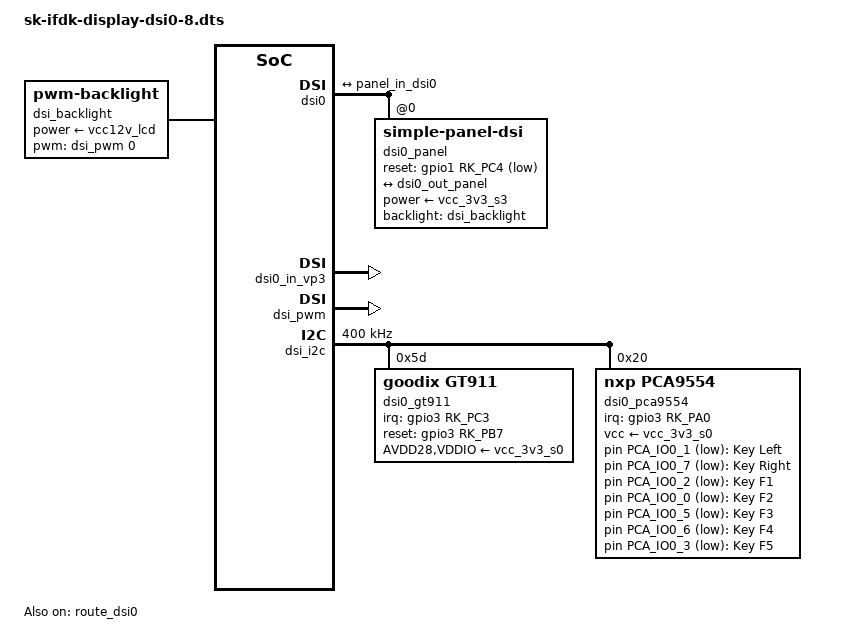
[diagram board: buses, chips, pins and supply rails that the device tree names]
// SPDX-License-Identifier: (GPL-2.0+ OR MIT)
/*
* Copyright (c) 2026 Sergey Kharenko
*/

/dts-v1/;
/plugin/;

#include <dt-bindings/display/drm_mipi_dsi.h>
#include <dt-bindings/display/rockchip_vop.h>
#include <dt-bindings/input/input.h>
#include <dt-bindings/interrupt-controller/irq.h>
#include <dt-bindings/gpio/gpio.h>
#include <dt-bindings/pinctrl/rockchip.h>

/ {
	metadata {
		title ="Enable SK IFDK Display 8 with Touchpad";
		compatible = "sk,ifdk";
		category = "display";
		exclusive = "dsi0";
		description = "Enable SK IFDK Display 8 with Touchpad.";
	};

    fragment@0 {
		target-path = "/";
        
        __overlay__ {
        	dsi_backlight: dsi-backlight {
                compatible = "pwm-backlight";
                brightness-levels = <
                    0  20  20  21  21  22  22  23
                    23  24  24  25  25  26  26  27
                    27  28  28  29  29  30  30  31
                    31  32  32  33  33  34  34  35
                    35  36  36  37  37  38  38  39
                    40  41  42  43  44  45  46  47
                    48  49  50  51  52  53  54  55
                    56  57  58  59  60  61  62  63
                    64  65  66  67  68  69  70  71
                    72  73  74  75  76  77  78  79
                    80  81  82  83  84  85  86  87
                    88  89  90  91  92  93  94  95
                    96  97  98  99 100 101 102 103
                    104 105 106 107 108 109 110 111
                    112 113 114 115 116 117 118 119
                    120 121 122 123 124 125 126 127
                    128 129 130 131 132 133 134 135
                    136 137 138 139 140 141 142 143
                    144 145 146 147 148 149 150 151
                    152 153 154 155 156 157 158 159
                    160 161 162 163 164 165 166 167
                    168 169 170 171 172 173 174 175
                    176 177 178 179 180 181 182 183
                    184 185 186 187 188 189 190 191
                    192 193 194 195 196 197 198 199
                    200 201 202 203 204 205 206 207
                    208 209 210 211 212 213 214 215
                    216 217 218 219 220 221 222 223
                    224 225 226 227 228 229 230 231
                    232 233 234 235 236 237 238 239
                    240 241 242 243 244 245 246 247
                    248 249 250 251 252 253 254 255
                >;
                default-brightness-level = <200>;
                power-supply = <&vcc12v_lcd>;
                pwms = <&dsi_pwm 0 12000 0>;
	        };

            keypad_keys: keypad-keys {
                compatible = "gpio-keys";
                #address-cells = <1>;
                #size-cells = <0>;
                autorepeat;

                key_left: key-left@0 {
                    reg = <0>;
                    gpios = <&dsi0_pca9554 PCA_IO0_1 GPIO_ACTIVE_LOW>;
                    linux,code = <KEY_LEFT>;
                    label = "Key Left";
                    linux,input-type = <EV_KEY>;
                    interrupt-parent = <&dsi0_pca9554>;
                    interrupts = <PCA_IO0_1 IRQ_TYPE_EDGE_FALLING>;
                };

                key_right: key-right@1 {
                    reg = <1>;
                    gpios = <&dsi0_pca9554 PCA_IO0_7 GPIO_ACTIVE_LOW>;
                    linux,code = <KEY_RIGHT>;
                    label = "Key Right";
                    linux,input-type = <EV_KEY>;
                    interrupt-parent = <&dsi0_pca9554>;
                    interrupts = <PCA_IO0_7 IRQ_TYPE_EDGE_FALLING>;
                };

                key_f1: key-f1@2 {
                    reg = <2>;
                    gpios = <&dsi0_pca9554 PCA_IO0_2 GPIO_ACTIVE_LOW>;
                    linux,code = <KEY_F1>;
                    label = "Key F1";
                    linux,input-type = <EV_KEY>;
                    interrupt-parent = <&dsi0_pca9554>;
                    interrupts = <PCA_IO0_2 IRQ_TYPE_EDGE_FALLING>;
                };

                key_f2: key-f2@3 {
                    reg = <3>;
                    gpios = <&dsi0_pca9554 PCA_IO0_0 GPIO_ACTIVE_LOW>;
                    linux,code = <KEY_F2>;
                    label = "Key F2";
                    linux,input-type = <EV_KEY>;
                    interrupt-parent = <&dsi0_pca9554>;
                    interrupts = <PCA_IO0_0 IRQ_TYPE_EDGE_FALLING>;
                };

                key_f3: key-f3@4 {
                    reg = <4>;
                    gpios = <&dsi0_pca9554 PCA_IO0_5 GPIO_ACTIVE_LOW>;
                    linux,code = <KEY_F3>;
                    label = "Key F3";
                    linux,input-type = <EV_KEY>;
                    interrupt-parent = <&dsi0_pca9554>;
                    interrupts = <PCA_IO0_5 IRQ_TYPE_EDGE_FALLING>;
                };

                key_f4: key-f4@5 {
                    reg = <5>;
                    gpios = <&dsi0_pca9554 PCA_IO0_6 GPIO_ACTIVE_LOW>;
                    linux,code = <KEY_F4>;
                    label = "Key F4";
                    linux,input-type = <EV_KEY>;
                    interrupt-parent = <&dsi0_pca9554>;
                    interrupts = <PCA_IO0_6 IRQ_TYPE_EDGE_FALLING>;
                };

                key_f5: key-f5@6 {
                    reg = <6>;
                    gpios = <&dsi0_pca9554 PCA_IO0_3 GPIO_ACTIVE_LOW>;
                    linux,code = <KEY_F5>;
                    label = "Key F5";
                    linux,input-type = <EV_KEY>;
                    interrupt-parent = <&dsi0_pca9554>;
                    interrupts = <PCA_IO0_3 IRQ_TYPE_EDGE_FALLING>;
                };
            };
        };
    };

    fragment@1 {
        target = <&dsi0>;

        __overlay__ {
            status = "okay";
            #address-cells = <1>;
			#size-cells = <0>;

            dsi0_panel: main-panel@0 {
                compatible = "simple-panel-dsi";
                reg = <0>;
                rotation = <270>;
                power-supply = <&vcc_3v3_s3>;
                backlight = <&dsi_backlight>;
                pinctrl-names = "default";
                pinctrl-0 = <&lcd_rst_gpio>;
                reset-gpios = <&gpio1 RK_PC4 GPIO_ACTIVE_LOW>;
                panel-name = "AML08012001920-01";
                reset-delay-ms = <20>;
                enable-delay-ms = <10>;
                prepare-delay-ms = <10>;
                unprepare-delay-ms = <10>;
                disable-delay-ms = <60>;
                init-delay-ms = <200>;
                dsi,flags = <(MIPI_DSI_MODE_VIDEO | MIPI_DSI_MODE_VIDEO_BURST |
                        MIPI_DSI_MODE_LPM | MIPI_DSI_MODE_NO_EOT_PACKET)>;
                dsi,format = <MIPI_DSI_FMT_RGB888>;
                dsi,lanes  = <4>;
                panel-init-sequence = [
                    05 0A 01 10

                    13 00 02 B0 05
                    13 00 02 B3 52
                    13 00 02 B0 01
                    13 00 02 C8 00
                    13 00 02 C9 00
                    13 00 02 CC 26
                    13 00 02 CD 26
                    13 00 02 DC 00
                    13 00 02 DD 00
                    13 00 02 E0 26
                    13 00 02 E1 26
                    13 00 02 B0 03 
                    13 00 02 C3 2A 
                    13 00 02 E7 2A 
                    13 00 02 C5 2A 
                    13 00 02 DE 2A 
                    13 00 02 B0 00
                    13 00 02 B6 03
                    13 00 02 BA 87
                    13 00 02 BD 78
                    13 00 02 BF 15
                    13 00 02 C0 12 
                    13 00 02 C2 0C 
                    13 00 02 C3 02 
                    13 00 02 C4 0C 
                    13 00 02 C5 02
                    13 00 02 B0 06 
                    13 00 02 C0 A5 
                    13 00 02 D5 20
                    13 00 02 C0 00
                    13 00 02 B0 02
                    13 00 02 C0 00
                    13 00 02 C1 02
                    13 00 02 C2 06
                    13 00 02 C3 16 
                    13 00 02 C4 0e 
                    13 00 02 C5 18
                    13 00 02 C6 26
                    13 00 02 C7 32 
                    13 00 02 C8 3F 
                    13 00 02 C9 3F 
                    13 00 02 CA 3F 
                    13 00 02 CB 3F 
                    13 00 02 CC 3D 
                    13 00 02 CD 2F 
                    13 00 02 CE 2F 
                    13 00 02 CF 2F 
                    13 00 02 D0 07
                    13 00 02 D2 00
                    13 00 02 D3 02
                    13 00 02 D4 06

                    13 00 02 D5 12
                    13 00 02 D6 0A
                    13 00 02 D7 14
                    13 00 02 D8 22
                    13 00 02 D9 2E
                    13 00 02 DA 3D
                    13 00 02 DB 3F
                    13 00 02 DC 3F
                    13 00 02 DD 3F
                    13 00 02 DE 3D
                    13 00 02 DF 2F
                    13 00 02 E0 2F
                    13 00 02 E1 2F
                    13 00 02 E2 07
                    13 00 02 B0 07
                    13 00 02 B1 00
                    13 00 02 B2 19
                    13 00 02 B3 31
                    13 00 02 B4 5A
                    13 00 02 B5 7C
                    13 00 02 B6 9C
                    13 00 02 B7 D3
                    13 00 02 B8 0E
                    13 00 02 B9 7D
                    13 00 02 BA E0
                    13 00 02 BB 7A
                    13 00 02 BC E6
                    13 00 02 BD E9
                    13 00 02 BE 41
                    13 00 02 BF 91
                    13 00 02 C0 B0
                    13 00 02 C1 CF
                    13 00 02 C2 DC
                    13 00 02 C3 E9
                    13 00 02 C4 EF
                    13 00 02 C5 F5
                    13 00 02 C6 FA
                    13 00 02 C7 FB
                    13 00 02 C8 FC
                    13 00 02 C9 00
                    13 00 02 CA 01
                    13 00 02 CB 5A
                    13 00 02 CC BF
                    13 00 02 CD FF
                    13 00 02 CE FF
                    13 00 02 B0 08
                    13 00 02 B1 00
                    13 00 02 B2 19
                    13 00 02 B3 31
                    13 00 02 B4 5A
                    13 00 02 B5 7C
                    13 00 02 B6 9C
                    13 00 02 B7 D3

                    13 00 02 B8 0E
                    13 00 02 B9 7D
                    13 00 02 BA E0
                    13 00 02 BB 7A
                    13 00 02 BC E6
                    13 00 02 BD E9
                    13 00 02 BE 41
                    13 00 02 BF 91
                    13 00 02 C0 B0
                    13 00 02 C1 CF
                    13 00 02 C2 DC
                    13 00 02 C3 E9
                    13 00 02 C4 EF
                    13 00 02 C5 F5
                    13 00 02 C6 FA
                    13 00 02 C7 FB
                    13 00 02 C8 FC
                    13 00 02 C9 00
                    13 00 02 CA 01
                    13 00 02 CB 5A
                    13 00 02 CC BF
                    13 00 02 CD FF
                    13 00 02 CE FF
                    13 00 02 B0 09
                    13 00 02 B1 00
                    13 00 02 B2 19
                    13 00 02 B3 31
                    13 00 02 B4 5A
                    13 00 02 B5 7C
                    13 00 02 B6 9C
                    13 00 02 B7 D3
                    13 00 02 B8 0E
                    13 00 02 B9 7D
                    13 00 02 BA E0
                    13 00 02 BB 7A
                    13 00 02 BC E6
                    13 00 02 BD E9
                    13 00 02 BE 41
                    13 00 02 BF 91
                    13 00 02 C0 B0
                    13 00 02 C1 CF
                    13 00 02 C2 DC
                    13 00 02 C3 E9
                    13 00 02 C4 EF
                    13 00 02 C5 F5
                    13 00 02 C6 FA
                    13 00 02 C7 FB
                    13 00 02 C8 FC
                    13 00 02 C9 00
                    13 00 02 CA 01
                    13 00 02 CB 5A
                    13 00 02 CC BF
                    13 00 02 CD FF
                    13 00 02 CE FF

                    13 00 02 B0 0A
                    13 00 02 B1 00
                    13 00 02 B2 19
                    13 00 02 B3 31
                    13 00 02 B4 5A
                    13 00 02 B5 7C
                    13 00 02 B6 9C
                    13 00 02 B7 D3
                    13 00 02 B8 0E
                    13 00 02 B9 7D
                    13 00 02 BA E0
                    13 00 02 BB 7A
                    13 00 02 BC E6
                    13 00 02 BD E9
                    13 00 02 BE 41
                    13 00 02 BF 91
                    13 00 02 C0 B0
                    13 00 02 C1 CF
                    13 00 02 C2 DC
                    13 00 02 C3 E9
                    13 00 02 C4 EF
                    13 00 02 C5 F5
                    13 00 02 C6 FA
                    13 00 02 C7 FC
                    13 00 02 C8 FC
                    13 00 02 C9 00
                    13 00 02 CA 01
                    13 00 02 CB 5A
                    13 00 02 CC BF
                    13 00 02 CD FF
                    13 00 02 CE FF
                    13 00 02 B0 0B
                    13 00 02 B1 00
                    13 00 02 B2 19
                    13 00 02 B3 31
                    13 00 02 B4 5A
                    13 00 02 B5 7C
                    13 00 02 B6 9C
                    13 00 02 B7 D3
                    13 00 02 B8 0E
                    13 00 02 B9 7D
                    13 00 02 BA E0
                    13 00 02 BB 7A
                    13 00 02 BC E6
                    13 00 02 BD E9
                    13 00 02 BE 41
                    13 00 02 BF 91
                    13 00 02 C0 B0
                    13 00 02 C1 CF
                    13 00 02 C2 DC
                    13 00 02 C3 E9
                    13 00 02 C4 EF
                    13 00 02 C5 F5
                    13 00 02 C6 FA

                    13 00 02 C7 FC
                    13 00 02 C8 FC
                    13 00 02 C9 00
                    13 00 02 CA 01
                    13 00 02 CB 5A
                    13 00 02 CC BF
                    13 00 02 CD FF
                    13 00 02 CE FF
                    13 00 02 B0 0C
                    13 00 02 B1 00
                    13 00 02 B2 19
                    13 00 02 B3 31
                    13 00 02 B4 5A
                    13 00 02 B5 7C
                    13 00 02 B6 9C
                    13 00 02 B7 D3
                    13 00 02 B8 0E
                    13 00 02 B9 7D
                    13 00 02 BA E0
                    13 00 02 BB 7A
                    13 00 02 BC E6
                    13 00 02 BD E9
                    13 00 02 BE 41
                    13 00 02 BF 91
                    13 00 02 C0 B0
                    13 00 02 C1 CF
                    13 00 02 C2 DC
                    13 00 02 C3 E9
                    13 00 02 C4 EF
                    13 00 02 C5 F5
                    13 00 02 C6 FA
                    13 00 02 C7 FC
                    13 00 02 C8 FC
                    13 00 02 C9 00
                    13 00 02 CA 01
                    13 00 02 CB 5A
                    13 00 02 CC BF
                    13 00 02 CD FF
                    13 0A 02 CE FF

                    05 64 01 11
                    05 32 01 29
                ];
                panel-exit-sequence = [
                    05 00 01 28
                    05 00 01 10
                ];
                display-timings {
                    native-mode = <&dsi0_timing0>;
                    dsi0_timing0: timing0 {
                        clock-frequency = <156800000>;
                        hactive = <1200>;
                        vactive = <1920>;
                        hfront-porch = <110>;
                        hsync-len = <1>;
                        hback-porch = <32>;
                        vfront-porch = <11>;
                        vsync-len = <1>;
                        vback-porch = <14>;
                        hsync-active = <0>;
                        vsync-active = <0>;
                        de-active = <0>;
                        pixelclk-active = <1>;
                    };
                };
                ports {
                    #address-cells = <1>;
                    #size-cells = <0>;
                    port@0 {
                        reg = <0>;
                        panel_in_dsi0: endpoint {
                            remote-endpoint = <&dsi0_out_panel>;
                        };
                    };
                };
            };

            ports {
                #address-cells = <1>;
                #size-cells = <0>;

                dsi0_out: port@1 {
                    reg = <1>;
                    dsi0_out_panel: endpoint {
                        remote-endpoint = <&panel_in_dsi0>;
                    };
                };
            };
        };
    };

    fragment@2 {
        target = <&dsi0_in_vp3>;

        __overlay__ {
            status = "okay";
        };
    };

    fragment@3 {
        target = <&dsi_pwm>;

        __overlay__ {
            status = "okay";
        };
    };

    fragment@4 {
        target = <&route_dsi0>;

        __overlay__ {
            status = "okay";
            connect = <&vp3_out_dsi0>;
        };
    };

    fragment@5 {
        target = <&dsi_i2c>;

        __overlay__ {
            status = "okay";
            clock-frequency = <400000>;
            #address-cells = <1>;
            #size-cells = <0>;

            dsi0_gt911: dsi0-gt911@5d {
                compatible = "goodix,gt911";
                reg = <0x5d>;
                AVDD28-supply = <&vcc_3v3_s0>;
                VDDIO-supply = <&vcc_3v3_s0>;
                pinctrl-names = "default";
                pinctrl-0 = <&touch_gpio>;
                interrupts = <RK_PC3 IRQ_TYPE_EDGE_FALLING>;
                interrupt-parent = <&gpio3>;
                irq-gpios = <&gpio3 RK_PC3 GPIO_ACTIVE_HIGH>;
                reset-gpios = <&gpio3 RK_PB7 GPIO_ACTIVE_HIGH>;
                touchscreen-size-x = <1200>;
                touchscreen-size-y = <1920>;
                // touchscreen-inverted-x;
                // touchscreen-inverted-y;
                // touchscreen-swapped-x-y;
            };

            dsi0_pca9554: dsi0-pca9554@20 {
                compatible = "nxp,pca9554";
                reg = <0x20>;
                vcc-supply = <&vcc_3v3_s0>;
                pinctrl-names = "default";
                pinctrl-0 = <&keypad_gpio>;
                interrupt-parent = <&gpio3>;
                interrupts = <RK_PA0 IRQ_TYPE_EDGE_FALLING>;
                gpio-controller;
                #gpio-cells = <2>;
                interrupt-controller;
                #interrupt-cells = <2>;
            };
        };
    };
};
